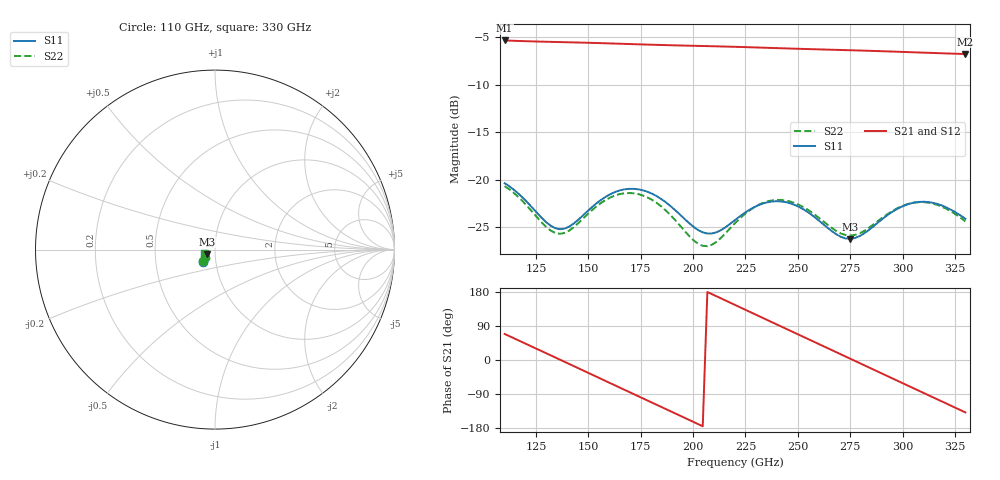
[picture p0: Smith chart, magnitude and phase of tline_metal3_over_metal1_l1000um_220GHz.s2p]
#  GHZ S DB R 50
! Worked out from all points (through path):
!   101 points, 110 GHz to 330 GHz, reference 50 ohm
!   highest |S21| = -5.35 dB at 110 GHz (marker M1); lowest = -6.8 dB at 330 GHz (marker M2)
!   group delay of S21, straight-line fit = 7.16 ps
!   lowest |S11| = -26.2 dB at 275 GHz (marker M3), VSWR 1.10, Z = 45.9 - j2.3 ohm
!   |S11| at or under -10 dB: start of sweep to end of sweep
!   |S22| runs from -27.0 to -20.7 dB; largest |S21 - S12| = 5.5e-14
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110  -20.35 -135.2  -5.35 68.8  -5.35 68.8  -20.66 -136.1
121  -22.39 -145.0  -5.44 40.6  -5.44 40.6  -22.80 -145.8
129.8  -24.43 -142.6  -5.49 18.0  -5.49 18.0  -24.94 -142.8
138.6  -25.12 -130.0  -5.54 -4.7  -5.54 -4.7  -25.58 -129.3
147.4  -23.74 -121.8  -5.58 -27.4  -5.58 -27.4  -24.08 -121.2
158.4  -21.75 -126.3  -5.65 -55.8  -5.65 -55.8  -22.09 -126.5
167.2  -21.00 -135.8  -5.71 -78.5  -5.71 -78.5  -21.41 -136.5
176  -21.09 -146.4  -5.78 -101.2  -5.78 -101.2  -21.64 -147.6
184.8  -22.01 -155.4  -5.83 -123.9  -5.83 -123.9  -22.79 -156.7
195.8  -24.08 -159.2  -5.89 -152.2  -5.89 -152.2  -25.33 -158.8
204.6  -25.51 -151.7  -5.94 -174.9  -5.94 -174.9  -26.93 -146.6
220  -24.22 -136.6  -6.02 145.3  -6.02 145.3  -24.56 -128.1
231  -22.67 -140.8  -6.10 116.9  -6.10 116.9  -22.65 -134.3
239.8  -22.24 -148.7  -6.16 94.2  -6.16 94.2  -22.11 -143.3
248.6  -22.64 -156.8  -6.22 71.5  -6.22 71.5  -22.44 -152.2
257.4  -23.81 -161.9  -6.28 48.9  -6.28 48.9  -23.54 -158.0
275  -26.19 -149.3  -6.38 3.5  -6.38 3.5  -25.85 -147.6
283.8  -25.28 -139.2  -6.44 -19.2  -6.44 -19.2  -25.05 -138.4
294.8  -23.40 -138.7  -6.52 -47.6  -6.52 -47.6  -23.32 -138.1
303.6  -22.49 -144.8  -6.59 -70.3  -6.59 -70.3  -22.48 -144.2
312.4  -22.33 -152.6  -6.65 -93.0  -6.65 -93.0  -22.39 -152.0
330  -24.08 -162.0  -6.78 -138.3  -6.78 -138.3  -24.36 -160.9
